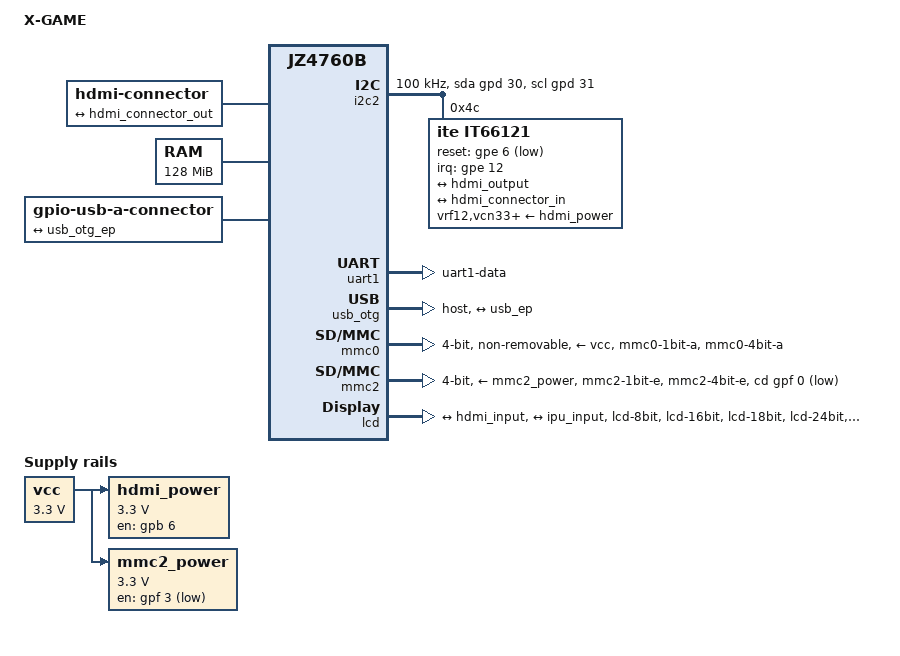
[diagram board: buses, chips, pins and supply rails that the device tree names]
// SPDX-License-Identifier: GPL-2.0
/dts-v1/;

#include "jz4760b.dtsi"
#include <dt-bindings/clock/ingenic,tcu.h>

#include <dt-bindings/gpio/gpio.h>
#include <dt-bindings/iio/adc/ingenic,adc.h>
#include <dt-bindings/input/input.h>

#include <dt-bindings/interrupt-controller/irq.h>

/ {
	compatible = "ylm,x-game", "ingenic,jz4760b";
	model = "X-GAME";

	hdmi_power: regulator@2 {
		compatible = "regulator-fixed";
		regulator-name = "hdmi_pwr";
		gpio = <&gpb 6 0>;
		enable-active-high;

		regulator-min-microvolt = <3300000>;
		regulator-max-microvolt = <3300000>;
		vin-supply = <&vcc>;
	};

	hdmi-connector {
		compatible = "hdmi-connector";
		label = "hdmi";
		type = "a";

		port {
			hdmi_connector_in: endpoint {
				remote-endpoint = <&hdmi_connector_out>;
			};
		};
	};

	i2c2: i2c-controller@2 {
		status = "okay";

		compatible = "i2c-gpio";
		#address-cells = <1>;
		#size-cells = <0>;

		sda-gpios = <&gpd 30 (GPIO_ACTIVE_HIGH | GPIO_OPEN_DRAIN)>;
		scl-gpios = <&gpd 31 (GPIO_ACTIVE_HIGH | GPIO_OPEN_DRAIN)>;
		clock-frequency = <100000>; /* 100 kHz */

		it66121: hdmi@4c {
			compatible = "ite,it66121";
			reg = <0x4c>;

			interrupt-parent = <&gpe>;
			interrupts = <12 IRQ_TYPE_EDGE_FALLING>;
			interrupt-names = "irq";

			reset-gpios = <&gpe 6 GPIO_ACTIVE_LOW>;

			pinctrl-names = "default";
			pinctrl-0 = <&pins_it66121>;

			vrf12-supply = <&hdmi_power>;
			vcn33-supply = <&hdmi_power>;
			vcn18-supply = <&hdmi_power>;

			ports {
				#address-cells = <1>;
				#size-cells = <0>;

				port@0 {
					reg = <0>;

					hdmi_input: endpoint {
						bus-width = <24>;
						remote-endpoint = <&hdmi_output>;
					};
				};

				port@1 {
					reg = <1>;

					hdmi_connector_out: endpoint {
						remote-endpoint = <&hdmi_connector_in>;
					};
				};
			};
		};
	};

	aliases {
		serial0 = &uart0;
		serial1 = &uart1;
		serial2 = &uart2;
		serial3 = &uart3;
	};

	memory: memory {
		device_type = "memory";
		reg = <0x0 0x8000000>;
	};

	chosen {
		stdout-path = "serial1:57600n8";
	};

	vcc: regulator@0 {
		compatible = "regulator-fixed";
		regulator-name = "vcc";

		regulator-min-microvolt = <3300000>;
		regulator-max-microvolt = <3300000>;
		regulator-always-on;
	};

	mmc2_power: regulator@1 {
		compatible = "regulator-fixed";
		regulator-name = "mmc2_vcc";
		gpio = <&gpf 3 0>;

		regulator-min-microvolt = <3300000>;
		regulator-max-microvolt = <3300000>;
		vin-supply = <&vcc>;
	};

	usb_conn: connector {
		compatible = "gpio-usb-a-connector", "usb-a-connector";
		label = "USB-A";

		port {
			usb_ep: endpoint {
				remote-endpoint = <&usb_otg_ep>;
			};
		};
	};

	cpu_opp_table: opp-table {
		compatible = "operating-points-v2";

		opp-480000000 { opp-hz = /bits/ 64 <480000000>; };
		opp-528000000 { opp-hz = /bits/ 64 <528000000>; };
		opp-576000000 { opp-hz = /bits/ 64 <576000000>; };
		opp-624000000 { opp-hz = /bits/ 64 <624000000>; };
		opp-672000000 { opp-hz = /bits/ 64 <672000000>; };
		opp-720000000 { opp-hz = /bits/ 64 <720000000>; };
		opp-768000000 { opp-hz = /bits/ 64 <768000000>; };
		opp-816000000 { opp-hz = /bits/ 64 <816000000>; };
		opp-864000000 { opp-hz = /bits/ 64 <864000000>; };
		opp-912000000 { opp-hz = /bits/ 64 <912000000>; };
		opp-960000000 { opp-hz = /bits/ 64 <960000000>; };
		opp-1008000000 { opp-hz = /bits/ 64 <1008000000>; };
		opp-1056000000 { opp-hz = /bits/ 64 <1056000000>; };
		opp-1104000000 { opp-hz = /bits/ 64 <1104000000>; };
		opp-1152000000 { opp-hz = /bits/ 64 <1152000000>; };
		opp-1200000000 { opp-hz = /bits/ 64 <1200000000>; };
		opp-1248000000 { opp-hz = /bits/ 64 <1248000000>; };
		opp-1296000000 { opp-hz = /bits/ 64 <1296000000>; };
		opp-1344000000 { opp-hz = /bits/ 64 <1344000000>; };
		opp-1392000000 { opp-hz = /bits/ 64 <1392000000>; };
		opp-1440000000 { opp-hz = /bits/ 64 <1440000000>; };
		opp-1488000000 { opp-hz = /bits/ 64 <1488000000>; };
		opp-1536000000 { opp-hz = /bits/ 64 <1536000000>; };
		opp-1584000000 { opp-hz = /bits/ 64 <1584000000>; };

	};
};

&cpu0 {
	operating-points-v2 = <&cpu_opp_table>;

	/* We use the main PLL as the CPU clock for the cpufreq driver. */
	clocks = <&cgu JZ4760_CLK_PLL0>;
};

&ext {
	clock-frequency = <12000000>;
};

&pinctrl {
	pins_lcd: lcd {
		function = "lcd";
		groups = "lcd-8bit", "lcd-16bit", "lcd-18bit", "lcd-24bit", "lcd-generic";
	};

	pins_uart1: uart1 {
		function = "uart1";
		groups = "uart1-data";
	};

	pins_mmc0: mmc0 {
		function = "mmc0";
		groups = "mmc0-1bit-a", "mmc0-4bit-a";
	};

	pins_mmc2: mmc2 {
		function = "mmc2";
		groups = "mmc2-1bit-e", "mmc2-4bit-e";
	};

	pins_it66121: it66121 {
		pins = "PE12";
		bias-pull-up;
	};
};

&uart1 {
	pinctrl-names = "default";
	pinctrl-0 = <&pins_uart1>;

	status = "okay";
};

&cgu {
	/*
	 * Put high-speed peripherals under PLL1, such that we can change the
	 * PLL0 frequency on demand without having to suspend peripherals.
	 * We use a rate of 432 MHz, which is the least common multiple of
	 * 27 MHz (required by TV encoder) and 48 MHz (required by USB host).
	 * Use the 32 kHz oscillator as the parent of the RTC for a higher
	 * precision.
	 */
	assigned-clocks =
		<&cgu JZ4760_CLK_PLL1>,
		<&cgu JZ4760_CLK_PLL0_HALF>,
		<&cgu JZ4760_CLK_MMC_MUX>,
		<&cgu JZ4760_CLK_RTC>,
		<&cgu JZ4760_CLK_UHC>,
		<&cgu JZ4760_CLK_LPCLK_DIV>;
	assigned-clock-parents =
		<0>,
		<0>,
		<&cgu JZ4760_CLK_PLL0_HALF>,
		<&cgu JZ4760_CLK_OSC32K>,
		<&cgu JZ4760_CLK_PLL1>,
		<&cgu JZ4760_CLK_PLL1>;
	assigned-clock-rates =
		<432000000>, <600000000>, <25000000>;
};

&tcu {
	/*
	 * 750 kHz for the system timer and clocksource, 12 MHz for the OST,
	 * and use RTC as the parent for the watchdog clock
	 */
	assigned-clocks = <&tcu TCU_CLK_TIMER0>, <&tcu TCU_CLK_TIMER2>,
			  <&tcu TCU_CLK_OST>, <&tcu TCU_CLK_WDT>;
	assigned-clock-parents = <0>, <0>, <0>, <&cgu JZ4760_CLK_RTC>;
	assigned-clock-rates = <750000>, <750000>, <12000000>;

	/* PWM1 is in use, so use channel #2 for the clocksource */
	ingenic,pwm-channels-mask = <0xfa>;
};

&usb_otg {
	dr_mode = "host";
	port {
		usb_otg_ep: endpoint {
			remote-endpoint = <&usb_ep>;
		};
	};
};

&otg_phy {
	vcc-supply = <&vcc>;
};

&rtc {
	clocks = <&cgu JZ4760_CLK_RTC>;
	clock-names = "rtc";

	system-power-controller;

	ingenic,reset-pin-assert-time-ms = <125>;
	ingenic,min-wakeup-pin-assert-time-ms = <500>;
};

&mmc0 {
	status = "okay";

	bus-width = <4>;
	max-frequency = <25000000>;
	vmmc-supply = <&vcc>;
	non-removable;

	pinctrl-names = "default";
	pinctrl-0 = <&pins_mmc0>;
};

&mmc2 {
	status = "okay";

	bus-width = <4>;
	max-frequency = <25000000>;
	cd-gpios = <&gpf 0 GPIO_ACTIVE_LOW>;
	vmmc-supply = <&mmc2_power>;

	pinctrl-names = "default";
	pinctrl-0 = <&pins_mmc2>;
};

&lcd {
	pinctrl-names = "default";
	pinctrl-0 = <&pins_lcd>;

	ports {
		#address-cells = <1>;
		#size-cells = <0>;

		port@0 {
			reg = <0>;

			hdmi_output: endpoint {
				remote-endpoint = <&hdmi_input>;
			};
		};

		port@8 {
			reg = <8>;

			ipu_output: endpoint {
				remote-endpoint = <&ipu_input>;
			};
		};
	};
};

&ipu {
	port {
		ipu_input: endpoint {
			remote-endpoint = <&ipu_output>;
		};
	};
};
